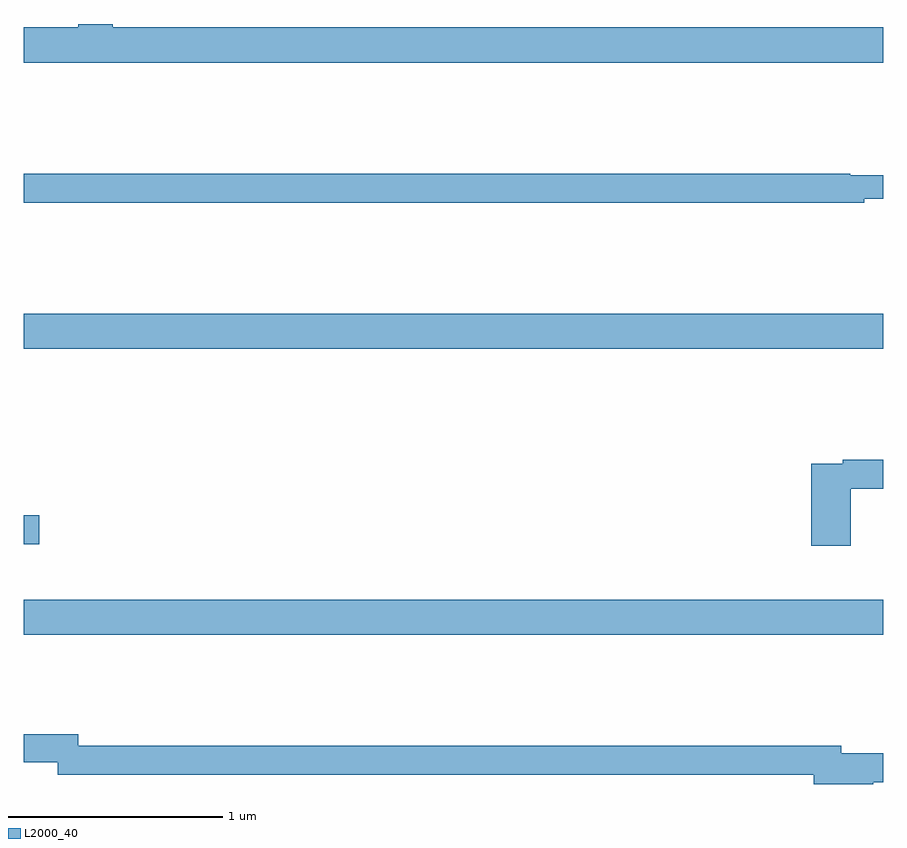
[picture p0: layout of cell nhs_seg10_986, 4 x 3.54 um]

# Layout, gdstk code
import gdstk
lib = gdstk.Library(unit=1e-6, precision=1e-09)
def R(c, l, rs):  # rectangles x0, y0, x1, y1
    for r in rs: c.add(gdstk.rectangle(r[:2], r[2:], *l))
def P(c, l, *ps):  # polygons
    for p in ps: c.add(gdstk.Polygon(p, *l))
L2000_40 = (2000, 40)

nhs_seg10_986 = lib.new_cell('nhs_seg10_986')
R(nhs_seg10_986, L2000_40, [(161,1293.656,165,1293.82), (161,1294.079,161.071,1294.214), (161,1294.988,165,1295.152)])
P(nhs_seg10_986, L2000_40, [(165,1296.484),(161.414,1296.484),(161.414,1296.5),(161.254,1296.5),(161.254,1296.484),(161,1296.484),(161,1296.32),(165,1296.32)],
  [(164.912,1295.687),(165,1295.687),(165,1295.797),(164.846,1295.797),(164.846,1295.804),(161,1295.804),(161,1295.668),(164.912,1295.668)],
  [(164.849,1294.336),(165,1294.336),(165,1294.472),(164.812,1294.472),(164.812,1294.452),(164.666,1294.452),(164.666,1294.071),(164.849,1294.071)],
  [(164.954,1292.969),(165,1292.969),(165,1293.104),(164.806,1293.104),(164.806,1293.14),(161.253,1293.14),(161.253,1293.193),(161,1293.193),(161,1293.064),(161.157,1293.064),(161.157,1293.004),(164.678,1293.004),(164.678,1292.962),(164.954,1292.962)])

lib.write_gds('nhs_seg10_986.gds')
